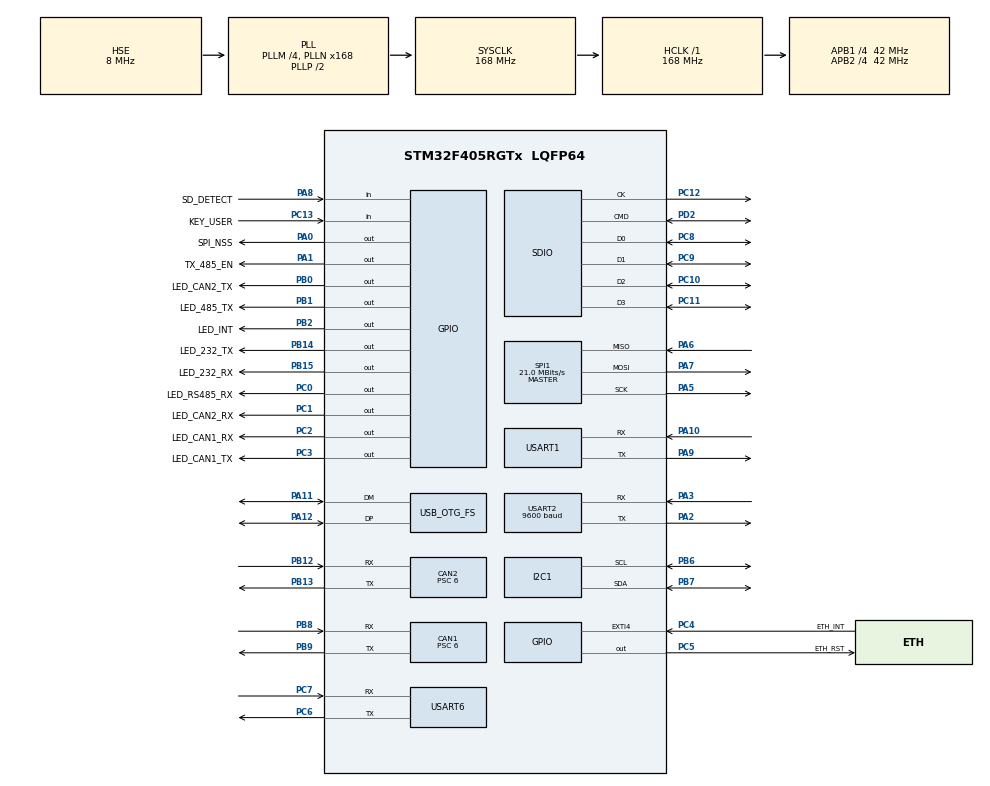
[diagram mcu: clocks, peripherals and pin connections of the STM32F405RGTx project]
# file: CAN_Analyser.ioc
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CAN1.BS1=CAN_BS1_11TQ
CAN1.BS2=CAN_BS2_2TQ
CAN1.CalculateBaudRate=500000
CAN1.CalculateTimeBit=2000
CAN1.CalculateTimeQuantum=142.85714285714286
CAN1.Prescaler=6
CAN2.BS1=CAN_BS1_11TQ
CAN2.BS2=CAN_BS2_2TQ
CAN2.CalculateBaudRate=500000
CAN2.CalculateTimeBit=2000
CAN2.CalculateTimeQuantum=142.85714285714286
CAN2.Prescaler=6
Dma.Request0=SPI1_RX
Dma.Request1=SPI1_TX
Dma.Request2=SDIO_RX
Dma.Request3=SDIO_TX
Dma.SDIO_RX.2.Direction=DMA_PERIPH_TO_MEMORY
Dma.SDIO_RX.2.FIFOMode=DMA_FIFOMODE_ENABLE
Dma.SDIO_RX.2.FIFOThreshold=DMA_FIFO_THRESHOLD_FULL
Dma.SDIO_RX.2.Instance=DMA2_Stream3
Dma.SDIO_RX.2.MemBurst=DMA_MBURST_INC4
Dma.SDIO_RX.2.MemDataAlignment=DMA_MDATAALIGN_WORD
Dma.SDIO_RX.2.MemInc=DMA_MINC_ENABLE
Dma.SDIO_RX.2.Mode=DMA_PFCTRL
Dma.SDIO_RX.2.PeriphBurst=DMA_PBURST_INC4
Dma.SDIO_RX.2.PeriphDataAlignment=DMA_PDATAALIGN_WORD
Dma.SDIO_RX.2.PeriphInc=DMA_PINC_DISABLE
Dma.SDIO_RX.2.Priority=DMA_PRIORITY_LOW
Dma.SDIO_TX.3.Direction=DMA_MEMORY_TO_PERIPH
Dma.SDIO_TX.3.FIFOMode=DMA_FIFOMODE_ENABLE
Dma.SDIO_TX.3.FIFOThreshold=DMA_FIFO_THRESHOLD_FULL
Dma.SDIO_TX.3.Instance=DMA2_Stream6
Dma.SDIO_TX.3.MemBurst=DMA_MBURST_INC4
Dma.SDIO_TX.3.MemDataAlignment=DMA_MDATAALIGN_WORD
Dma.SDIO_TX.3.MemInc=DMA_MINC_ENABLE
Dma.SDIO_TX.3.Mode=DMA_PFCTRL
Dma.SDIO_TX.3.PeriphBurst=DMA_PBURST_INC4
Dma.SDIO_TX.3.PeriphDataAlignment=DMA_PDATAALIGN_WORD
Dma.SDIO_TX.3.PeriphInc=DMA_PINC_DISABLE
Dma.SDIO_TX.3.Priority=DMA_PRIORITY_LOW
Dma.SPI1_RX.0.Direction=DMA_PERIPH_TO_MEMORY
Dma.SPI1_RX.0.FIFOMode=DMA_FIFOMODE_DISABLE
Dma.SPI1_RX.0.Instance=DMA2_Stream0
Dma.SPI1_RX.0.MemDataAlignment=DMA_MDATAALIGN_BYTE
Dma.SPI1_RX.0.MemInc=DMA_MINC_ENABLE
Dma.SPI1_RX.0.Mode=DMA_NORMAL
Dma.SPI1_RX.0.PeriphDataAlignment=DMA_PDATAALIGN_BYTE
Dma.SPI1_RX.0.PeriphInc=DMA_PINC_DISABLE
Dma.SPI1_RX.0.Priority=DMA_PRIORITY_VERY_HIGH
Dma.SPI1_TX.1.Direction=DMA_MEMORY_TO_PERIPH
Dma.SPI1_TX.1.FIFOMode=DMA_FIFOMODE_DISABLE
Dma.SPI1_TX.1.Instance=DMA2_Stream5
Dma.SPI1_TX.1.MemDataAlignment=DMA_MDATAALIGN_BYTE
Dma.SPI1_TX.1.MemInc=DMA_MINC_ENABLE
Dma.SPI1_TX.1.Mode=DMA_NORMAL
Dma.SPI1_TX.1.PeriphDataAlignment=DMA_PDATAALIGN_BYTE
Dma.SPI1_TX.1.PeriphInc=DMA_PINC_DISABLE
Dma.SPI1_TX.1.Priority=DMA_PRIORITY_HIGH
FATFS.BSP.number=1
FATFS.USE_DMA_CODE_SD=1
FATFS._FS_EXFAT=1
FATFS._MAX_SS=4096
FATFS._USE_EXPAND=1
FATFS._USE_LFN=2
FATFS0.BSP.STBoard=false
FATFS0.BSP.api=Unknown
FATFS0.BSP.instance=PA8
FATFS0.BSP.ip=GPIO
FATFS0.BSP.mode=Input
FATFS0.BSP.name=Detect_SDIO
FATFS0.BSP.solution=PA8
FREERTOS.Tasks01=defaultTask,24,256,StartDefaultTask,Default,NULL,Dynamic,NULL,NULL;TaskETH,8,256,StartTaskETH,Default,NULL,Dynamic,NULL,NULL
FREERTOS.configGENERATE_RUN_TIME_STATS=1
FREERTOS.configMINIMAL_STACK_SIZE=256
FREERTOS.configTOTAL_HEAP_SIZE=16384
FREERTOS.configUSE_NEWLIB_REENTRANT=1
FREERTOS.configUSE_STATS_FORMATTING_FUNCTIONS=1
I2C1.I2C_Mode=I2C_Fast
Mcu.Family=STM32F4
Mcu.Name=STM32F405RGTx
Mcu.Package=LQFP64
NVIC.CAN1_RX0_IRQn=true\:5\:0\:false\:false\:true\:true\:true\:true\:true
NVIC.CAN1_RX1_IRQn=true\:5\:0\:false\:false\:true\:true\:true\:true\:true
NVIC.CAN2_RX0_IRQn=true\:5\:0\:false\:false\:true\:true\:true\:true\:true
NVIC.CAN2_RX1_IRQn=true\:5\:0\:false\:false\:true\:true\:true\:true\:true
NVIC.DMA2_Stream0_IRQn=true\:5\:0\:false\:false\:true\:true\:false\:true\:true
NVIC.DMA2_Stream3_IRQn=true\:5\:0\:false\:false\:true\:true\:false\:true\:true
NVIC.DMA2_Stream5_IRQn=true\:5\:0\:false\:false\:true\:true\:false\:true\:true
NVIC.DMA2_Stream6_IRQn=true\:5\:0\:false\:false\:true\:true\:false\:true\:true
NVIC.EXTI4_IRQn=true\:5\:0\:false\:false\:true\:true\:true\:true\:true
NVIC.OTG_FS_IRQn=true\:5\:0\:false\:false\:true\:true\:false\:true\:true
NVIC.PriorityGroup=NVIC_PRIORITYGROUP_4
NVIC.SDIO_IRQn=true\:5\:0\:false\:false\:true\:true\:true\:true\:true
NVIC.SPI1_IRQn=true\:5\:0\:false\:false\:true\:true\:true\:true\:true
NVIC.TIM6_DAC_IRQn=true\:15\:0\:false\:false\:true\:false\:false\:true\:true
NVIC.TimeBase=TIM6_DAC_IRQn
NVIC.TimeBaseIP=TIM6
NVIC.USART1_IRQn=true\:5\:0\:false\:false\:true\:true\:true\:true\:true
NVIC.USART2_IRQn=true\:5\:0\:false\:false\:true\:true\:true\:true\:true
NVIC.USART6_IRQn=true\:5\:0\:false\:false\:true\:true\:true\:true\:true
PA0-WKUP.GPIO_Label=SPI_NSS
PA0-WKUP.PinState=GPIO_PIN_SET
PA0-WKUP.Signal=GPIO_Output
PA1.GPIO_Label=TX_485_EN
PA1.Signal=GPIO_Output
PA10.Mode=Asynchronous
PA10.Signal=USART1_RX
PA11.Mode=Device_Only
PA11.Signal=USB_OTG_FS_DM
PA12.Mode=Device_Only
PA12.Signal=USB_OTG_FS_DP
PA13.Mode=Serial_Wire
PA13.Signal=SYS_JTMS-SWDIO
PA14.Mode=Serial_Wire
PA14.Signal=SYS_JTCK-SWCLK
PA2.Mode=Asynchronous
PA2.Signal=USART2_TX
PA3.Mode=Asynchronous
PA3.Signal=USART2_RX
PA5.Mode=Full_Duplex_Master
PA5.Signal=SPI1_SCK
PA6.Mode=Full_Duplex_Master
PA6.Signal=SPI1_MISO
PA7.Mode=Full_Duplex_Master
PA7.Signal=SPI1_MOSI
PA8.GPIO_Label=SD_DETECT
PA8.GPIO_PuPd=GPIO_PULLUP
PA8.Signal=GPIO_Input
PA9.Mode=Asynchronous
PA9.Signal=USART1_TX
PB0.GPIO_Label=LED_CAN2_TX
PB0.Signal=GPIO_Output
PB1.GPIO_Label=LED_485_TX
PB1.Signal=GPIO_Output
PB12.Mode=CAN_Activate
PB12.Signal=CAN2_RX
PB13.Mode=CAN_Activate
PB13.Signal=CAN2_TX
PB14.GPIO_Label=LED_232_TX
PB14.Signal=GPIO_Output
PB15.GPIO_Label=LED_232_RX
PB15.Signal=GPIO_Output
PB2.GPIO_Label=LED_INT
PB2.Signal=GPIO_Output
PB6.Mode=I2C
PB6.Signal=I2C1_SCL
PB7.Mode=I2C
PB7.Signal=I2C1_SDA
PB8.Mode=CAN_Activate
PB8.Signal=CAN1_RX
PB9.Mode=CAN_Activate
PB9.Signal=CAN1_TX
PC0.GPIO_Label=LED_RS485_RX
PC0.Signal=GPIO_Output
PC1.GPIO_Label=LED_CAN2_RX
PC1.Signal=GPIO_Output
PC10.Mode=SD_4_bits_Wide_bus
PC10.Signal=SDIO_D2
PC11.Mode=SD_4_bits_Wide_bus
PC11.Signal=SDIO_D3
PC12.Mode=SD_4_bits_Wide_bus
PC12.Signal=SDIO_CK
PC13-ANTI_TAMP.GPIO_Label=KEY_USER
PC13-ANTI_TAMP.Signal=GPIO_Input
PC14-OSC32_IN.Mode=LSE-External-Oscillator
PC14-OSC32_IN.Signal=RCC_OSC32_IN
PC15-OSC32_OUT.Mode=LSE-External-Oscillator
PC15-OSC32_OUT.Signal=RCC_OSC32_OUT
PC2.GPIO_Label=LED_CAN1_RX
PC2.Signal=GPIO_Output
PC3.GPIO_Label=LED_CAN1_TX
PC3.Signal=GPIO_Output
PC4.GPIO_Label=ETH_INT
PC4.GPIO_ModeDefaultEXTI=GPIO_MODE_IT_FALLING
PC4.Signal=GPXTI4
PC5.GPIO_Label=ETH_RST
PC5.PinState=GPIO_PIN_SET
PC5.Signal=GPIO_Output
PC6.Mode=Asynchronous
PC6.Signal=USART6_TX
PC7.Mode=Asynchronous
PC7.Signal=USART6_RX
PC8.GPIO_PuPd=GPIO_PULLUP
PC8.Mode=SD_4_bits_Wide_bus
PC8.Signal=SDIO_D0
PC9.Mode=SD_4_bits_Wide_bus
PC9.Signal=SDIO_D1
PD2.GPIO_PuPd=GPIO_PULLUP
PD2.Mode=SD_4_bits_Wide_bus
PD2.Signal=SDIO_CMD
PH0-OSC_IN.Mode=HSE-External-Oscillator
PH0-OSC_IN.Signal=RCC_OSC_IN
PH1-OSC_OUT.Mode=HSE-External-Oscillator
PH1-OSC_OUT.Signal=RCC_OSC_OUT
ProjectManager.HeapSize=0x200
ProjectManager.StackSize=0x400
ProjectManager.TargetToolchain=STM32CubeIDE
RCC.48MHZClocksFreq_Value=48000000
RCC.AHBFreq_Value=168000000
RCC.APB1CLKDivider=RCC_HCLK_DIV4
RCC.APB1Freq_Value=42000000
RCC.APB1TimFreq_Value=84000000
RCC.APB2CLKDivider=RCC_HCLK_DIV4
RCC.APB2Freq_Value=42000000
RCC.APB2TimFreq_Value=84000000
RCC.CortexFreq_Value=168000000
RCC.EnbaleCSS=true
RCC.HCLKFreq_Value=168000000
RCC.HSE_VALUE=8000000
RCC.HSI_VALUE=16000000
RCC.PLLM=4
RCC.PLLN=168
RCC.PLLQ=7
RCC.RCC_MCO1Source=RCC_MCO1SOURCE_LSE
RCC.RCC_RTC_Clock_SourceVirtual=RCC_RTCCLKSOURCE_LSE
RCC.SYSCLKFreq_VALUE=168000000
RCC.SYSCLKSource=RCC_SYSCLKSOURCE_PLLCLK
RCC.VCOOutputFreq_Value=336000000
RTC.Format=RTC_FORMAT_BIN
RTC.Hours=11
RTC.Minutes=25
RTC.Month=RTC_MONTH_MAY
RTC.WeekDay=RTC_WEEKDAY_THURSDAY
RTC.Year=24
SDIO.ClockBypass=SDIO_CLOCK_BYPASS_DISABLE
SPI1.BaudRatePrescaler=SPI_BAUDRATEPRESCALER_2
SPI1.CalculateBaudRate=21.0 MBits/s
SPI1.Direction=SPI_DIRECTION_2LINES
SPI1.Mode=SPI_MODE_MASTER
SPI1.VirtualType=VM_MASTER
USART1.VirtualMode=VM_ASYNC
USART2.BaudRate=9600
USART2.VirtualMode=VM_ASYNC
USART6.VirtualMode=VM_ASYNC
USB_DEVICE.CLASS_NAME_FS=CDC
USB_DEVICE.VirtualMode-CDC_FS=Cdc
USB_DEVICE.VirtualModeFS=Cdc_FS
USB_OTG_FS.VirtualMode=Device_Only
VP_CRC_VS_CRC.Mode=CRC_Activate
VP_FATFS_VS_SDIO.Mode=SDIO
VP_FREERTOS_VS_CMSIS_V2.Mode=CMSIS_V2
VP_RNG_VS_RNG.Mode=RNG_Activate
VP_RTC_VS_RTC_Activate.Mode=RTC_Enabled
VP_RTC_VS_RTC_Calendar.Mode=RTC_Calendar
VP_SYS_VS_tim6.Mode=TIM6
VP_USB_DEVICE_VS_USB_DEVICE_CDC_FS.Mode=CDC_FS
board=custom

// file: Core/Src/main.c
/* USER CODE BEGIN Header */
/**
  ******************************************************************************
  * @file           : main.c
  * @brief          : Main program body
  ******************************************************************************
  * @attention
  *
  * Copyright (c) 2024 STMicroelectronics.
  * All rights reserved.
  *
  * This software is licensed under terms that can be found in the LICENSE file
  * in the root directory of this software component.
  * If no LICENSE file comes with this software, it is provided AS-IS.
  *
  ******************************************************************************
  */
/* USER CODE END Header */
#include "main.h"
#include "cmsis_os.h"
#include "can.h"
#include "crc.h"
#include "dma.h"
#include "fatfs.h"
#include "i2c.h"
#include "rng.h"
#include "rtc.h"
#include "sdio.h"
#include "spi.h"
#include "usart.h"
#include "usb_device.h"
#include "gpio.h"

/* USER CODE BEGIN Includes */
#include "log.h"
#include "fatfs.h"
/* USER CODE END Includes */

/* USER CODE BEGIN PTD */
void CAN1_Config(void);
void CAN2_Config(void);
/* USER CODE END PTD */

/* USER CODE BEGIN PD */
CAN_TxHeaderTypeDef   TxHeader1;
CAN_RxHeaderTypeDef   RxHeader1;
HAL_StatusTypeDef HAL_Retval1 = HAL_ERROR;

CAN_TxHeaderTypeDef   TxHeader2;
CAN_RxHeaderTypeDef   RxHeader2;
HAL_StatusTypeDef HAL_Retval2 = HAL_ERROR;

uint8_t	TxData1[32] = {0};
uint8_t RxData1[32] = {0};

uint8_t	TxData2[32] = {0};
uint8_t RxData2[32] = {0};

uint32_t TxMailbox1 = 0;
uint32_t TxMailbox2 = 0;

uint8_t Flag_CAN_1 = 0;
uint8_t Flag_CAN_2 = 0;

//static uint8_t buffer[_MAX_SS]; /* a work buffer for the f_mkfs() */
extern USBD_HandleTypeDef hUsbDeviceFS;
/* USER CODE END PD */

/* USER CODE BEGIN PV */
extern CAN_HandleTypeDef hcan1;
extern CAN_HandleTypeDef hcan2;
extern volatile unsigned long ulHighFrequencyTimerTicks;
extern volatile uint16_t ptr_232;
extern volatile uint8_t rx_rs232[];
extern volatile uint16_t ptr_485;
extern volatile uint8_t rx_rs485[];
extern volatile uint8_t byte_rs232[];
extern volatile uint8_t byte_rs485[];
/* USER CODE END PV */

void SystemClock_Config(void);
void MX_FREERTOS_Init(void);

int main(void)
{

  /* MCU Configuration--------------------------------------------------------*/

  /* Reset of all peripherals, Initializes the Flash interface and the Systick. */
  HAL_Init();

  /* Configure the system clock */
  SystemClock_Config();

  /* Initialize all configured peripherals */
  MX_GPIO_Init();
  MX_DMA_Init();
  MX_CAN1_Init();
  MX_CAN2_Init();
  MX_RTC_Init();
  MX_SDIO_SD_Init();
  MX_SPI1_Init();
  MX_USART1_UART_Init();
  MX_USART2_UART_Init();
  MX_I2C1_Init();
  MX_CRC_Init();
  MX_RNG_Init();
  MX_USART6_UART_Init();
  /* USER CODE BEGIN 2 */
  logI("CAN ANALYSER STM32 FreeRTOS v1.0.0 21/06/2024\n\r");

  ptr_232 = 0;
  HAL_UART_Receive_IT(&huart6, (uint8_t *)byte_rs232, 1);
  ptr_485 = 0;
  HAL_UART_Receive_IT(&huart2, (uint8_t *)byte_rs485, 1);

  //HAL_GPIO_WritePin(LED_RS485_RX_GPIO_Port, LED_RS485_RX_Pin, GPIO_PIN_SET);	// PC0
  //HAL_GPIO_WritePin(LED_CAN2_RX_GPIO_Port, LED_CAN2_RX_Pin, GPIO_PIN_SET);	// PC1
  //HAL_GPIO_WritePin(LED_CAN1_RX_GPIO_Port, LED_CAN1_RX_Pin, GPIO_PIN_SET);	// PC2
  //HAL_GPIO_WritePin(LED_CAN1_TX_GPIO_Port, LED_CAN1_TX_Pin, GPIO_PIN_SET);	// PC3
  //HAL_GPIO_WritePin(LED_CAN2_TX_GPIO_Port, LED_CAN2_TX_Pin, GPIO_PIN_SET);    // PB0
  //HAL_GPIO_WritePin(LED_485_TX_GPIO_Port, LED_485_TX_Pin, GPIO_PIN_SET);		// PB1

  HAL_GPIO_WritePin(ETH_RST_GPIO_Port, ETH_RST_Pin, GPIO_PIN_RESET);
  HAL_Delay(10);
  HAL_GPIO_WritePin(ETH_RST_GPIO_Port, ETH_RST_Pin, GPIO_PIN_SET);
  HAL_Delay(100);

  CAN1_Config();
  CAN2_Config();

  /* USER CODE END 2 */

  /* Init scheduler */
  osKernelInitialize();

  /* Call init function for freertos objects (in cmsis_os2.c) */
  MX_FREERTOS_Init();

  /* Start scheduler */
  osKernelStart();

  /* We should never get here as control is now taken by the scheduler */

  /* Infinite loop */
  while (1)
  {

  }
}

void SystemClock_Config(void)
{
  RCC_OscInitTypeDef RCC_OscInitStruct = {0};
  RCC_ClkInitTypeDef RCC_ClkInitStruct = {0};

  /** Configure the main internal regulator output voltage
  */
  __HAL_RCC_PWR_CLK_ENABLE();
  __HAL_PWR_VOLTAGESCALING_CONFIG(PWR_REGULATOR_VOLTAGE_SCALE1);

  /** Initializes the RCC Oscillators according to the specified parameters
  * in the RCC_OscInitTypeDef structure.
  */
  RCC_OscInitStruct.OscillatorType = RCC_OSCILLATORTYPE_HSE|RCC_OSCILLATORTYPE_LSE;
  RCC_OscInitStruct.HSEState = RCC_HSE_ON;
  RCC_OscInitStruct.LSEState = RCC_LSE_ON;
  RCC_OscInitStruct.PLL.PLLState = RCC_PLL_ON;
  RCC_OscInitStruct.PLL.PLLSource = RCC_PLLSOURCE_HSE;
  RCC_OscInitStruct.PLL.PLLM = 4;
  RCC_OscInitStruct.PLL.PLLN = 168;
  RCC_OscInitStruct.PLL.PLLP = RCC_PLLP_DIV2;
  RCC_OscInitStruct.PLL.PLLQ = 7;
  if (HAL_RCC_OscConfig(&RCC_OscInitStruct) != HAL_OK)
  {
    Error_Handler();
  }

  /** Initializes the CPU, AHB and APB buses clocks
  */
  RCC_ClkInitStruct.ClockType = RCC_CLOCKTYPE_HCLK|RCC_CLOCKTYPE_SYSCLK
                              |RCC_CLOCKTYPE_PCLK1|RCC_CLOCKTYPE_PCLK2;
  RCC_ClkInitStruct.SYSCLKSource = RCC_SYSCLKSOURCE_PLLCLK;
  RCC_ClkInitStruct.AHBCLKDivider = RCC_SYSCLK_DIV1;
  RCC_ClkInitStruct.APB1CLKDivider = RCC_HCLK_DIV4;
  RCC_ClkInitStruct.APB2CLKDivider = RCC_HCLK_DIV4;

  if (HAL_RCC_ClockConfig(&RCC_ClkInitStruct, FLASH_LATENCY_5) != HAL_OK)
  {
    Error_Handler();
  }

  /** Enables the Clock Security System
  */
  HAL_RCC_EnableCSS();
}

/* USER CODE BEGIN 4 */
void CAN1_Config(void)
{
	CAN_FilterTypeDef CAN1_FilterType;

	CAN1_FilterType.FilterBank=0;
	CAN1_FilterType.FilterIdHigh=0x0000;
	CAN1_FilterType.FilterIdLow=0x0000;
	CAN1_FilterType.FilterMaskIdHigh=0x0000;
	CAN1_FilterType.FilterMaskIdLow=0x0000;
	CAN1_FilterType.FilterFIFOAssignment=CAN_RX_FIFO0;
	CAN1_FilterType.FilterMode=CAN_FILTERMODE_IDMASK;
	CAN1_FilterType.FilterScale=CAN_FILTERSCALE_32BIT;
	CAN1_FilterType.FilterActivation=ENABLE;
	CAN1_FilterType.SlaveStartFilterBank=14;

	if(HAL_CAN_ConfigFilter(&hcan1, &CAN1_FilterType)!=HAL_OK)
	{
		Error_Handler();
	}
	if(HAL_CAN_ActivateNotification(&hcan1, CAN_IT_RX_FIFO0_MSG_PENDING)!=HAL_OK)
	{
		Error_Handler();
	}
	if(HAL_CAN_Start(&hcan1)!=HAL_OK)
	{
		Error_Handler();
	}
}

void CAN2_Config(void)
{
	CAN_FilterTypeDef CAN2_FilterType;

	CAN2_FilterType.FilterBank=14;
	CAN2_FilterType.FilterIdHigh=0x0000;
	CAN2_FilterType.FilterIdLow=0x0000;
	CAN2_FilterType.FilterMaskIdHigh=0x0000;
	CAN2_FilterType.FilterMaskIdLow=0x0000;
	CAN2_FilterType.FilterFIFOAssignment=CAN_RX_FIFO0;
	CAN2_FilterType.FilterMode=CAN_FILTERMODE_IDMASK;
	CAN2_FilterType.FilterScale=CAN_FILTERSCALE_32BIT;
	CAN2_FilterType.FilterActivation=ENABLE;
	CAN2_FilterType.SlaveStartFilterBank=14;

	if(HAL_CAN_ConfigFilter(&hcan2, &CAN2_FilterType)!=HAL_OK)
	{
		Error_Handler();
	}
	if(HAL_CAN_ActivateNotification(&hcan2, CAN_IT_RX_FIFO0_MSG_PENDING)!=HAL_OK)
	{
		Error_Handler();
	}
	if(HAL_CAN_Start(&hcan2)!=HAL_OK)
	{
		Error_Handler();
	}
}

void HAL_CAN_RxFifo0MsgPendingCallback(CAN_HandleTypeDef *hcan)
{
	if(hcan->Instance == CAN1) {
		HAL_Retval1 = HAL_CAN_GetRxMessage(&hcan1, CAN_RX_FIFO0, &RxHeader1, RxData1);
		if(HAL_Retval1 == HAL_OK) {
			// Tem Dados Validos
			Flag_CAN_1 = 1;
			HAL_GPIO_TogglePin(LED_CAN1_RX_GPIO_Port, LED_CAN1_RX_Pin);

			TxHeader2.ExtId = RxHeader1.ExtId;
			TxHeader2.RTR = CAN_RTR_DATA;
			TxHeader2.IDE = CAN_ID_EXT;
			TxHeader2.DLC = 8;
			TxHeader2.TransmitGlobalTime = DISABLE;

			TxData2[0] = RxData1[0];
			TxData2[1] = RxData1[1];
			TxData2[2] = RxData1[2];
			TxData2[3] = RxData1[3];
			TxData2[4] = RxData1[4];
			TxData2[5] = RxData1[5];
			TxData2[6] = RxData1[6];
		    TxData2[7] = RxData1[7];
		    // Start the Transmission process
		    HAL_GPIO_TogglePin(LED_CAN2_TX_GPIO_Port, LED_CAN2_TX_Pin);
		    if (HAL_CAN_AddTxMessage(&hcan2, &TxHeader2, TxData2, &TxMailbox2) != HAL_OK)
		    {
				// Transmission request Error
		    }
		    else {
		    }
		    HAL_GPIO_WritePin(LED_CAN2_TX_GPIO_Port, LED_CAN2_TX_Pin, GPIO_PIN_RESET);
		}
		else {
			Flag_CAN_1 = 0;
			HAL_GPIO_WritePin(LED_CAN1_RX_GPIO_Port, LED_CAN1_RX_Pin, GPIO_PIN_RESET);
		}
	}
	else if(hcan->Instance == CAN2) {
		HAL_Retval2 = HAL_CAN_GetRxMessage(&hcan2, CAN_RX_FIFO0, &RxHeader2, RxData2);
		if(HAL_Retval2 == HAL_OK) {
			// Tem Dados Validos
			Flag_CAN_2 = 1;
			HAL_GPIO_TogglePin(LED_CAN2_RX_GPIO_Port, LED_CAN2_RX_Pin);

			TxHeader1.ExtId = RxHeader2.ExtId;
			TxHeader1.RTR = CAN_RTR_DATA;
			TxHeader1.IDE = CAN_ID_EXT;
			TxHeader1.DLC = 8;
			TxHeader1.TransmitGlobalTime = DISABLE;

			TxData1[0] = RxData2[0];
			TxData1[1] = RxData2[1];
			TxData1[2] = RxData2[2];
			TxData1[3] = RxData2[3];
			TxData1[4] = RxData2[4];
			TxData1[5] = RxData2[5];
			TxData1[6] = RxData2[6];
		    TxData1[7] = RxData2[7];
		    // Start the Transmission process
		    HAL_GPIO_TogglePin(LED_CAN1_TX_GPIO_Port, LED_CAN1_TX_Pin);
		    if (HAL_CAN_AddTxMessage(&hcan1, &TxHeader1, TxData1, &TxMailbox1) != HAL_OK)
		    {
				// Transmission request Error
		    }
		    else {
		    }
		    HAL_GPIO_WritePin(LED_CAN1_TX_GPIO_Port, LED_CAN1_TX_Pin, GPIO_PIN_RESET);
		}
		else {
			Flag_CAN_2 = 0;
			HAL_GPIO_WritePin(LED_CAN2_RX_GPIO_Port, LED_CAN2_RX_Pin, GPIO_PIN_RESET);
		}
	}
}
/* USER CODE END 4 */

void HAL_TIM_PeriodElapsedCallback(TIM_HandleTypeDef *htim)
{
  if (htim->Instance == TIM6) {
    HAL_IncTick();
  }
  /* USER CODE BEGIN Callback 1 */
  if (htim->Instance == TIM6) {
	  ulHighFrequencyTimerTicks++;
  }
  /* USER CODE END Callback 1 */
}

void Error_Handler(void)
{
  __disable_irq();
  while (1)
  {
  }
}

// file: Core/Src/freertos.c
/* USER CODE BEGIN Header */
/**
  ******************************************************************************
  * File Name          : freertos.c
  * Description        : Code for freertos applications
  ******************************************************************************
  * @attention
  *
  * Copyright (c) 2024 STMicroelectronics.
  * All rights reserved.
  *
  * This software is licensed under terms that can be found in the LICENSE file
  * in the root directory of this software component.
  * If no LICENSE file comes with this software, it is provided AS-IS.
  *
  ******************************************************************************
  */
/* USER CODE END Header */

#include "FreeRTOS.h"
#include "task.h"
#include "main.h"
#include "cmsis_os.h"

/* USER CODE BEGIN Includes */
#include "usart.h"
#include "spi.h"
#include "fatfs.h"
#include "rtc.h"
#include "log.h"
#include "usb_device.h"
#include "wizchip_conf.h"
#include "socket.h"
#include "httpServer.h"
#include "rs485.h"
#include "index.h"
#include "loopback.h"
/* USER CODE END Includes */

/* USER CODE BEGIN PTD */
#define LOOPBACK_DATA_BUF_SIZE			2048

int32_t server_tcp(uint8_t sn);

extern USBD_HandleTypeDef hUsbDeviceFS;
extern CAN_RxHeaderTypeDef   RxHeader1;
extern CAN_RxHeaderTypeDef   RxHeader2;
extern uint8_t RxData1[], RxData2[];
extern uint8_t Flag_CAN_1, Flag_CAN_2;
extern volatile uint8_t rx_rs485[];
extern volatile uint8_t rx_rs232[];
extern volatile uint16_t ptr_232;
extern volatile uint16_t ptr_485;
extern volatile uint8_t byte_rs232[];
extern volatile uint8_t byte_rs485[];

RTC_TimeTypeDef gTime = {0};
RTC_DateTypeDef gDate = {0};

uint32_t timer_led = 0;
uint32_t timer_teste = 0;
uint32_t timer_rs485 = 0;
uint32_t timer_rs232 = 0;
uint32_t tmr_keep_alive = 0;

char line[100] = {0}; /* Line buffer */
extern char SDPath[4];   /* SD logical drive path */
FIL USERFile;       /* File object for USER */
extern FATFS SDFatFS;    /* File system object for SD logical drive */
FATFS *pfs;
FRESULT fr;     /* FatFs return code */
DWORD fre_clust;
uint32_t totalSpace, freeSpace, SpaceUsed;
uint32_t duracao = 0;
uint32_t size = 0;
unsigned int ByteRead;
volatile unsigned long ulHighFrequencyTimerTicks = 0;

uint8_t	bufSize[] = {2, 2, 2, 2, 2, 2, 2, 2, 2, 2, 2, 2, 2, 2, 2, 2};
uint8_t WEBRX_BUF[2048] = {0};
uint8_t WEBTX_BUF[2048] = {0};
uint8_t socknumlist[] = {2, 3};
static uint8_t dest_ip[4] = {192, 168, 10, 13};

uint16_t last_232 = 0;
uint16_t last_485 = 0;

uint8_t isConnected = 0;
uint16_t socket_size = 0;

uint8_t buf_tx[LOOPBACK_DATA_BUF_SIZE] = {0};
uint8_t buf_rx[LOOPBACK_DATA_BUF_SIZE] = {0};
uint8_t ret = 0;
/* USER CODE END PTD */

/* USER CODE BEGIN PD */
void cs_sel(void);
void cs_desel(void);
uint8_t spi_rb(void);
void spi_wb(uint8_t b);
void spi_rb_burst(uint8_t *buf, uint16_t len);
void spi_wb_burst(uint8_t *buf, uint16_t len);
/* USER CODE END PD */

/* USER CODE BEGIN PM */
#define MAX_HTTPSOCK	2
/* USER CODE END PM */

/* Definitions for defaultTask */
osThreadId_t defaultTaskHandle;
const osThreadAttr_t defaultTask_attributes = {
  .name = "defaultTask",
  .stack_size = 256 * 4,
  .priority = (osPriority_t) osPriorityNormal,
};
/* Definitions for TaskETH */
osThreadId_t TaskETHHandle;
const osThreadAttr_t TaskETH_attributes = {
  .name = "TaskETH",
  .stack_size = 256 * 4,
  .priority = (osPriority_t) osPriorityLow,
};

void StartDefaultTask(void *argument);
void StartTaskETH(void *argument);

extern void MX_USB_DEVICE_Init(void);
void MX_FREERTOS_Init(void); /* (MISRA C 2004 rule 8.1) */

/* Hook prototypes */
void configureTimerForRunTimeStats(void);
unsigned long getRunTimeCounterValue(void);

/* USER CODE BEGIN 1 */
/* Functions needed when configGENERATE_RUN_TIME_STATS is on */
__weak void configureTimerForRunTimeStats(void)
{
	ulHighFrequencyTimerTicks = 0;
}

__weak unsigned long getRunTimeCounterValue(void)
{
	return ulHighFrequencyTimerTicks;
}
/* USER CODE END 1 */

void MX_FREERTOS_Init(void) {

  /* Create the thread(s) */
  /* creation of defaultTask */
  defaultTaskHandle = osThreadNew(StartDefaultTask, NULL, &defaultTask_attributes);

  /* creation of TaskETH */
  TaskETHHandle = osThreadNew(StartTaskETH, NULL, &TaskETH_attributes);

}

void StartDefaultTask(void *argument)
{
  /* init code for USB_DEVICE */
  MX_USB_DEVICE_Init();
  /* USER CODE BEGIN StartDefaultTask */
  if (FATFS_LinkDriver(&SD_Driver, SDPath) == 0) {
	  // Mount SD CARD
	  fr = f_mount(&SDFatFS, (TCHAR const*)SDPath, 0);
	  if(fr != FR_OK){
		  logI("STM32 FatFs - GetMount ERROR...\n\r");
	  }
	  else {
		  logI("STM32 FatFs - GetMount OK...\n\r");
	  }

//	  fr = f_mkfs((TCHAR const*)SDPath, FM_ANY, 0, buffer, sizeof(buffer));
//	  if(fr != FR_OK){
//		  logI("STM32 FatFs - Mkfs ERROR...\n\r");
//	  }
//	  else {
//		  logI("STM32 FatFs - Mkfs OK...\n\r");
//	  }

	  // Check freeSpace space
	  fr = f_getfree("", &fre_clust, &pfs);
	  if(fr != FR_OK){
		  logI("STM32 FatFs - GetFree ERROR...\n\r");
	  }
	  else {
		  logI("STM32 FatFs - GetFree OK...\n\r");
		  totalSpace = (uint32_t)((pfs->n_fatent - 2) * pfs->csize * 0.5);
		  freeSpace = (uint32_t)(fre_clust * pfs->csize * 0.5);
		  SpaceUsed = totalSpace - freeSpace;
		  logI("Total Space: %ld , SpeceUsed: %ld , FreeSpace: %ld \n\r", totalSpace, SpaceUsed, freeSpace);
	  }
//	  // Test Open File + 8 Caracteres Tela_Principal.bin
//	  duracao = HAL_GetTick();
//	  fr = f_open(&USERFile, "Tela_Principal.bin", FA_READ);
//	  if(fr != FR_OK) {
//	 	 logI("FatFs - Tela_Principal.bin Error...Result: %d\n\r", fr);
//	  }
//	  else {
//		 duracao = HAL_GetTick() - duracao;
//	 	 size = f_size(&USERFile);
//	 	 logI("FatFs - Open File Tela_Principal.bin... Result: %d  Size:%d Duracao: %d\n\r", fr, size, duracao);
	      //fr = f_read(&USERFile, line , 100, &ByteRead);
	      //if(fr == FR_OK) {
	     //	 logI("FatFs ReadFile...line: %s\n\r", line);
	      //}
	      //else {
	     //	 logI("FatFs ReadFile...Error:  Result: %d \n\r", fr);
	      //}
//
  }
  /* Infinite loop */
  for(;;)
  {
	  HAL_RTC_GetTime(&hrtc, &gTime, RTC_FORMAT_BIN);
	  HAL_RTC_GetDate(&hrtc, &gDate, RTC_FORMAT_BIN);

	  if(HAL_GetTick() - timer_led > 100) {
		  timer_led = HAL_GetTick();
		  HAL_GPIO_TogglePin(LED_INT_GPIO_Port, LED_INT_Pin);
	  }
	  if( Flag_CAN_1 ) {
		  Flag_CAN_1 = 0;
		  HAL_GPIO_WritePin(LED_CAN1_RX_GPIO_Port, LED_CAN1_RX_Pin, GPIO_PIN_RESET);
		  logI("CAN1 0x%08lX MSG: 0x%02X 0x%02X 0x%02X 0x%02X 0x%02X 0x%02X 0x%02X 0x%02X  %ld\n\r", RxHeader1.ExtId,
			    RxData1[0], RxData1[1], RxData1[2], RxData1[3], RxData1[4], RxData1[5], RxData1[6], RxData1[7], HAL_GetTick());

	  }
	  if( Flag_CAN_2 ) {
		  Flag_CAN_2 = 0;
		  HAL_GPIO_WritePin(LED_CAN2_RX_GPIO_Port, LED_CAN2_RX_Pin, GPIO_PIN_RESET);
		  logI("CAN2 0x%08lX MSG: 0x%02X 0x%02X 0x%02X 0x%02X 0x%02X 0x%02X 0x%02X 0x%02X  %ld\n\r", RxHeader2.ExtId,
			    RxData2[0], RxData2[1], RxData2[2], RxData2[3], RxData2[4], RxData2[5], RxData2[6], RxData2[7], HAL_GetTick());
	  }
	  // RS485
	  if(HAL_GetTick() - timer_rs485 > 1000) {
		  timer_rs485 = HAL_GetTick();
		  test_485();
	  }
	  //
	  if(HAL_GetTick() - timer_rs232 > 1000) {
		  timer_rs232 = HAL_GetTick();
		  if(last_485 != ptr_485) {
			  last_485 = ptr_485;
			  HAL_GPIO_WritePin(LED_RS485_RX_GPIO_Port, LED_RS485_RX_Pin, GPIO_PIN_RESET);
			  logI("RS485[%d]\n\r",	last_485 );
		  }
		  if(last_232 != ptr_232) {
			  last_232 = ptr_232;
			  HAL_GPIO_WritePin(LED_232_RX_GPIO_Port, LED_232_RX_Pin, GPIO_PIN_RESET);
			  logI("RS232[%d]\n\r",	last_232 );
		  }
	  }
	  if(hUsbDeviceFS.dev_state == USBD_STATE_CONFIGURED) {
		  //logI("Cable USB Connected\n\r");
	  }
	  else {
		  //logI("Cable USB Not Connected\n\r");
	  }
    osDelay(2);
  }
  /* USER CODE END StartDefaultTask */
}

void StartTaskETH(void *argument)
{
  /* USER CODE BEGIN StartTaskETH */
	reg_wizchip_cs_cbfunc(cs_sel, cs_desel);
	reg_wizchip_spi_cbfunc(spi_rb, spi_wb);
	reg_wizchip_spiburst_cbfunc(spi_rb_burst, spi_wb_burst);
	reg_wizchip_cris_cbfunc(vPortEnterCritical, vPortExitCritical);

	wizchip_init(bufSize, bufSize);

	wiz_NetInfo netInfo = { .mac 	= {0x00, 0x08, 0xdc, 0xab, 0xcd, 0xef},		// Mac address
			                .ip 	= {192, 168, 10, 11},						// IP address
			                .sn 	= {255, 255, 255, 0},						// Subnet mask
							.dns    = {192, 168, 10, 250},						// DNS
			                .gw 	= {192, 168, 10, 250},						// Gateway address
							.dhcp   = NETINFO_STATIC 							// DHCP enable/disable
	                      };

	wizchip_setnetinfo(&netInfo);
	wizchip_getnetinfo(&netInfo);

	httpServer_init(WEBTX_BUF, WEBRX_BUF, MAX_HTTPSOCK, socknumlist);		// Tx/Rx buffers (1kB) / The number of W5500 chip H/W sockets in use
	reg_httpServer_cbfunc(NVIC_SystemReset, NULL);
	reg_httpServer_webContent((uint8_t *)"index.html",    (uint8_t *)index_html);			// index.html
  /* Infinite loop */
  for(;;)
  {
		if((ret = loopback_tcps(0, buf_rx, 5001)) < 0) {
		    logI("%d:loopback_tcps error:%d\r\n", 0, ret);
			break;
		}
//		if((ret = loopback_tcpc(0, buf_rx, dest_ip, 5001)) < 0) {
//		    logI("%d:loopback_tcpc error:%d\r\n", 0, ret);
//			break;
//		}

	  // HTTP
	  for(uint8_t i = 0; i < MAX_HTTPSOCK; i++)	{
		  httpServer_run(i); 	// HTTP Server handler
	  }
    osDelay(2);
  }
  /* USER CODE END StartTaskETH */
}

/* USER CODE BEGIN Application */
void cs_sel(void)
{
	HAL_GPIO_WritePin(SPI_NSS_GPIO_Port, SPI_NSS_Pin, GPIO_PIN_RESET); //CS LOW
}

void cs_desel(void)
{
	HAL_GPIO_WritePin(SPI_NSS_GPIO_Port, SPI_NSS_Pin, GPIO_PIN_SET); //CS HIGH
}

uint8_t spi_rb(void)
{
	uint8_t rbuf;
	HAL_SPI_Receive(&hspi1, &rbuf, 1, 1000);
	return rbuf;
}

void spi_wb(uint8_t b)
{
	HAL_SPI_Transmit(&hspi1, &b, 1, 1000);
}

void spi_rb_burst(uint8_t *buf, uint16_t len)
{
	HAL_SPI_Receive(&hspi1, buf, len, 1000);
}

void spi_wb_burst(uint8_t *buf, uint16_t len)
{
	HAL_SPI_Transmit(&hspi1, buf, len, 1000);
}

void HAL_UART_RxCpltCallback(UART_HandleTypeDef *huart)
{
	if(huart->Instance==USART1) {	// UART 1

	}
	if(huart->Instance==USART2) {	// UART 2 RS485
		HAL_UART_Receive_IT(&huart2, (uint8_t *)byte_rs485, 1);
	}
	if(huart->Instance==USART6) {	// UART6
		HAL_UART_Receive_IT(&huart6, (uint8_t *)byte_rs232, 1);
	}
}

void HAL_SPI_RxCpltCallback(SPI_HandleTypeDef *hspi)
{

}

void HAL_SPI_TxCpltCallback(SPI_HandleTypeDef *hspi)
{

}
/* USER CODE END Application */
